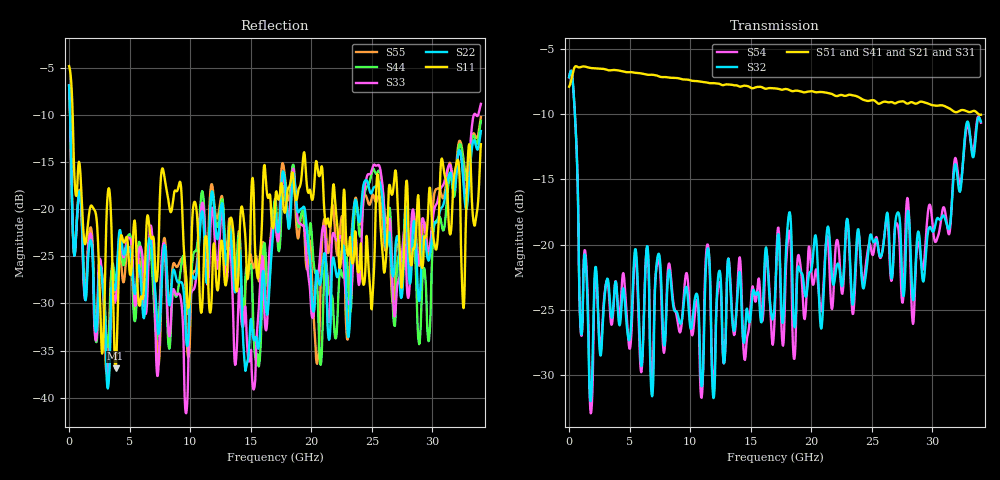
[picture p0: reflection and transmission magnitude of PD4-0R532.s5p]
! MARKI MICROWAVE INC.
! Email:  info@markimicrowave.com  Phone:  408-778-4200
! Model Number:  PD4-0R532  Date:  06/13
! Filename:		PD4_0R532.S5P  Version: 1.0
! Description:  5-port S-parameter data for 4 Way Power Divider PD4-0R532
! Frequency Range: 	10 MHz to 34 GHz
! Port Configuration:	PORT 1: COMMON
!  PORT 2: Output 1
!  Port 3: Output 2
!  Port 4: Output 3
!  Port 5: Output 4
! S5P File: Measurements: Mag<S11> Ang<S11> Mag<S12> Ang<S12> Mag<S13> Ang<S13> Mag<S14> Ang<S14> ! row 1
!  Mag<S15> Ang<S15>
!  Mag<S21> Ang<S21> Mag<S22> Ang<S22> Mag<S23> Ang<S23> Mag<S24> Ang<S24> ! row 2
!  Mag<S25> Ang<S25>
!  Mag<S31> Ang<S31> Mag<S32> Ang<S32> Mag<S33> Ang<S33> Mag<S34> Ang<S34> ! row 3
!  Mag<S35> Ang<S35>
!  Mag<S41> Ang<S41> Mag<S42> Ang<S42> Mag<S43> Ang<S43> Mag<S44> Ang<S44> ! row 4
!  Mag<S45> Ang<S45>
!  Mag<S51> Ang<S51> Mag<S52> Ang<S52> Mag<S53> Ang<S53> Mag<S54> Ang<S54> ! row 5
!  Mag<S55> Ang<S55>
# GHz S DB R 50
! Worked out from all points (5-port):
!   800 points, 10 MHz to 34 GHz, reference 50 ohm
!   strongest paths, dB at 10 MHz, 8.522 GHz, 17.03 GHz, 25.55 GHz, 34 GHz:
!     S51: -7.9, -7.2, -8.0, -9.2, -10.1
!     S41: -7.9, -7.2, -8.1, -9.4, -9.9
!     S21: -7.9, -7.2, -8.0, -9.3, -9.7
!     S31: -7.9, -7.2, -8.0, -9.3, -10.5
!     S32: -7.2, -24.0, -23.5, -20.4, -10.6
!     S54: -7.2, -23.7, -23.9, -20.4, -10.7
!   lowest |S11| = -36.9 dB at 3.84 GHz (marker M1), VSWR 1.03, Z = 48.6 - j0.175 ohm
!   |S11| at or under -10 dB: 303.1 MHz to end of sweep
